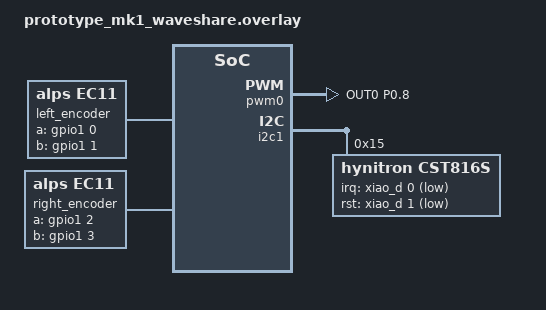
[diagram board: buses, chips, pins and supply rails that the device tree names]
/*
 * Copyright (c) 2020 Ryan Cross
 *
 * SPDX-License-Identifier: MIT
 *
 * XIAO nRF52840 + Waveshare 1.69" prospector receiver dongle.
 * Display/backlight/sensor come from the prospector_adapter shield; shared DT
 * from prototype_mk1_dongle_base.dtsi. See docs/information.md.
 */

#include "prototype_mk1_dongle_base.dtsi"
#include <dt-bindings/zmk/keys.h>

/* --- keyboard-backlight relay placeholder (moved off D0 -> P0.08) --- */
&pinctrl {
    pwm0_default: pwm0_default {
        group1 {
            psels = <NRF_PSEL(PWM_OUT0, 0, 8)>;
        };
    };
    pwm0_sleep: pwm0_sleep {
        group1 {
            psels = <NRF_PSEL(PWM_OUT0, 0, 8)>;
            low-power-enable;
        };
    };
};

&pwm0 {
    status = "okay";
    pinctrl-0 = <&pwm0_default>;
    pinctrl-1 = <&pwm0_sleep>;
    pinctrl-names = "default", "sleep";

    backlight: pwmleds {
        compatible = "pwm-leds";
        pwm_led_0 {
            pwms = <&pwm0 0 PWM_MSEC(10) PWM_POLARITY_NORMAL>;
        };
    };
};

/* --- CST816S touch controller on the shared XIAO I2C (D4/D5) --- */
&i2c1 {
    status = "okay";

    cst816s: cst816s@15 {
        compatible = "hynitron,cst816s";
        reg = <0x15>;
        irq-gpios = <&xiao_d 0 GPIO_ACTIVE_LOW>;
        rst-gpios = <&xiao_d 1 GPIO_ACTIVE_LOW>;
    };
};

/ {
    chosen {
        zmk,backlight = &backlight;
    };

    /* Six media macros fired by the touch UI's MEDIA/SETTINGS screens (0-2 are
     * also the no-fork-UI fallback grid in touch_input.c). Customise to taste. */
    macros {
        touch_macro_0: touch_macro_0 {
            compatible = "zmk,behavior-macro";
            #binding-cells = <0>;
            bindings = <&kp C_VOL_DN>;   /* Volume Down */
        };
        touch_macro_1: touch_macro_1 {
            compatible = "zmk,behavior-macro";
            #binding-cells = <0>;
            bindings = <&kp C_MUTE>;     /* Mute */
        };
        touch_macro_2: touch_macro_2 {
            compatible = "zmk,behavior-macro";
            #binding-cells = <0>;
            bindings = <&kp C_VOL_UP>;   /* Volume Up */
        };
        touch_macro_3: touch_macro_3 {
            compatible = "zmk,behavior-macro";
            #binding-cells = <0>;
            bindings = <&kp C_PP>;       /* Play / Pause */
        };
        touch_macro_4: touch_macro_4 {
            compatible = "zmk,behavior-macro";
            #binding-cells = <0>;
            bindings = <&kp C_PREV>;     /* Previous track */
        };
        touch_macro_5: touch_macro_5 {
            compatible = "zmk,behavior-macro";
            #binding-cells = <0>;
            bindings = <&kp C_NEXT>;     /* Next track */
        };
    };
};

/* dummy EC11s on unconnected P1 pins: the central only subscribes to the halves'
 * encoders if this build has a zmk,keymap-sensors node (real data arrives over BLE) */
/ {
    left_encoder: encoder_left {
        compatible = "alps,ec11";
        a-gpios = <&gpio1 0 (GPIO_ACTIVE_HIGH | GPIO_PULL_UP)>;
        b-gpios = <&gpio1 1 (GPIO_ACTIVE_HIGH | GPIO_PULL_UP)>;
        steps = <80>;
        status = "okay";
    };
    right_encoder: encoder_right {
        compatible = "alps,ec11";
        a-gpios = <&gpio1 2 (GPIO_ACTIVE_HIGH | GPIO_PULL_UP)>;
        b-gpios = <&gpio1 3 (GPIO_ACTIVE_HIGH | GPIO_PULL_UP)>;
        steps = <80>;
        status = "okay";
    };
    sensors: sensors {
        compatible = "zmk,keymap-sensors";
        sensors = <&left_encoder &right_encoder>;
        triggers-per-rotation = <20>;
    };
};
